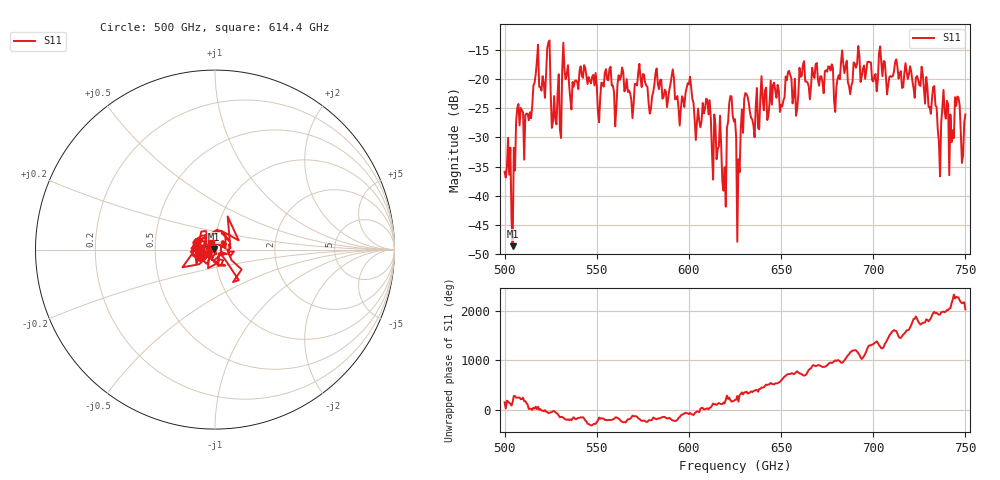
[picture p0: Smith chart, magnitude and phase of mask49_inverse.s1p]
!Created with skrf (http://scikit-rf.org).
# GHz S MA R 50.0
!freq magS11 angS11
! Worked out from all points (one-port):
!   401 points, 500 GHz to 750 GHz, reference 50 ohm
!   lowest |S11| = -48.7 dB at 504.4 GHz (marker M1), VSWR 1.01, Z = 49.6 + j0.0675 ohm
!   |S11| at or under -10 dB: start of sweep to end of sweep
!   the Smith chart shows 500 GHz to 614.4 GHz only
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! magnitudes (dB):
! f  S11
! 500 GHz  -35.9
! 504.4 GHz  -48.7
! 507.5 GHz  -24.2
! 511.9 GHz  -25.9
! 516.9 GHz  -19.2
! 523.8 GHz  -13.7
! 526.9 GHz  -22.9
! 531.2 GHz  -18.4
! 562.5 GHz  -20.1
! 593.8 GHz  -22.9
! 610 GHz  -23.5
! 618.8 GHz  -39.1
! 621.9 GHz  -24.1
! 625 GHz  -26.9
! 626.9 GHz  -33.7
! 631.2 GHz  -22.5
! 634.4 GHz  -26.9
! 656.2 GHz  -24.1
! 684.4 GHz  -18.9
! 687.5 GHz  -22.6
! 691.2 GHz  -17.3
! 718.8 GHz  -20.0
! 733.1 GHz  -21.2
! 735.6 GHz  -30.7
! 739.4 GHz  -26.8
! 742.5 GHz  -30.8
! 745.6 GHz  -23.0
! 750 GHz  -26.1
